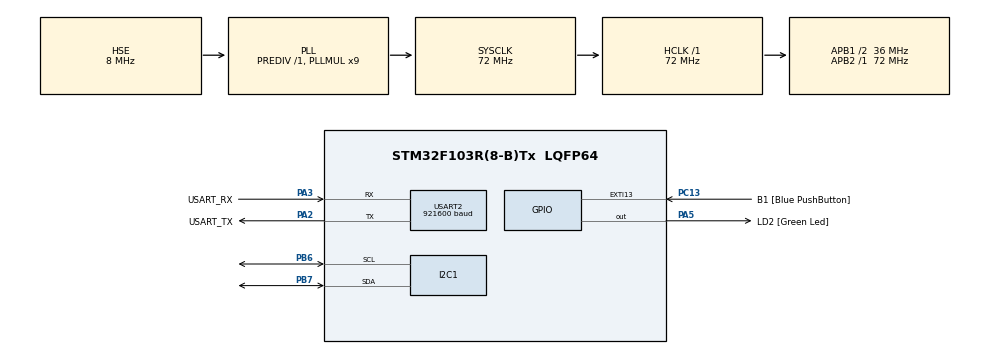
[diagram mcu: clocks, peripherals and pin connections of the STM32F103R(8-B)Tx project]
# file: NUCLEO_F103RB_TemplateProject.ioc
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Mcu.Family=STM32F1
Mcu.Name=STM32F103R(8-B)Tx
Mcu.Package=LQFP64
NVIC.EXTI15_10_IRQn=true\:0\:0\:false\:false\:true\:true\:true\:true
NVIC.PriorityGroup=NVIC_PRIORITYGROUP_4
PA13.GPIO_Label=TMS
PA13.Mode=Serial_Wire
PA13.Signal=SYS_JTMS-SWDIO
PA14.GPIO_Label=TCK
PA14.Mode=Serial_Wire
PA14.Signal=SYS_JTCK-SWCLK
PA2.GPIO_Label=USART_TX
PA2.GPIO_Mode=GPIO_MODE_AF_PP
PA2.GPIO_PuPd=GPIO_NOPULL
PA2.GPIO_Speed=GPIO_SPEED_FREQ_LOW
PA2.Mode=Asynchronous
PA2.Signal=USART2_TX
PA3.GPIO_Label=USART_RX
PA3.GPIO_Mode=GPIO_MODE_AF_PP
PA3.GPIO_PuPd=GPIO_NOPULL
PA3.GPIO_Speed=GPIO_SPEED_FREQ_LOW
PA3.Mode=Asynchronous
PA3.Signal=USART2_RX
PA5.GPIO_Label=LD2 [Green Led]
PA5.GPIO_ModeDefaultOutputPP=GPIO_MODE_OUTPUT_PP
PA5.GPIO_PuPd=GPIO_NOPULL
PA5.GPIO_Speed=GPIO_SPEED_FREQ_LOW
PA5.Signal=GPIO_Output
PB3.GPIO_Label=SWO
PB3.Signal=SYS_JTDO-TRACESWO
PB6.Mode=I2C
PB6.Signal=I2C1_SCL
PB7.Mode=I2C
PB7.Signal=I2C1_SDA
PC13-TAMPER-RTC.GPIO_Label=B1 [Blue PushButton]
PC13-TAMPER-RTC.GPIO_PuPd=GPIO_NOPULL
PC13-TAMPER-RTC.Signal=GPXTI13
PC14-OSC32_IN.Mode=LSE-External-Oscillator
PC14-OSC32_IN.Signal=RCC_OSC32_IN
PC15-OSC32_OUT.Mode=LSE-External-Oscillator
PC15-OSC32_OUT.Signal=RCC_OSC32_OUT
PD0-OSC_IN.Mode=HSE-External-Clock-Source
PD0-OSC_IN.Signal=RCC_OSC_IN
PD1-OSC_OUT.Mode=HSE-External-Clock-Source
PD1-OSC_OUT.Signal=RCC_OSC_OUT
ProjectManager.HeapSize=0x200
ProjectManager.StackSize=0x400
ProjectManager.TargetToolchain=Makefile
RCC.AHBFreq_Value=72000000
RCC.APB1CLKDivider=RCC_HCLK_DIV2
RCC.APB1Freq_Value=36000000
RCC.APB1TimFreq_Value=72000000
RCC.APB2Freq_Value=72000000
RCC.APB2TimFreq_Value=72000000
RCC.HCLKFreq_Value=72000000
RCC.PLLMUL=RCC_PLL_MUL9
RCC.PLLSourceVirtual=RCC_PLLSOURCE_HSE
RCC.RTCClockSelection=RCC_RTCCLKSOURCE_LSE
RCC.SYSCLKFreq_VALUE=72000000
RCC.SYSCLKSource=RCC_SYSCLKSOURCE_PLLCLK
RCC.USBFreq_Value=72000000
USART2.BaudRate=921600
USART2.VirtualMode=VM_ASYNC
board=NUCLEO-F103RB

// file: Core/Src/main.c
/* USER CODE BEGIN Header */
/**
  ******************************************************************************
  * @file           : main.c
  * @brief          : Main program body
  ******************************************************************************
  * @attention

  ******************************************************************************
  */
/* USER CODE END Header */
#include "main.h"
#include "i2c.h"
#include "MPU6050.h"
#include "usart.h"
#include "gpio.h"

/* USER CODE BEGIN Includes */
#include "stdio.h"
#include "string.h"
//#include "lcd.h"
int __io_putchar(int ch);
/* USER CODE END Includes */

/* USER CODE BEGIN PD */
#define MPU6050_SAMPLE_INTERVAL_MS 200U
#define UART_COMMAND_BUFFER_SIZE  32U

/* USER CODE END PD */

/* USER CODE BEGIN PV */
static uint8_t uartRxByte;
static char uartCommandBuffer[UART_COMMAND_BUFFER_SIZE];
static uint8_t uartCommandLength;
static volatile uint8_t uartCommandReady;
static volatile uint8_t uartCommandOverflow;

/* USER CODE END PV */

void SystemClock_Config(void);
/* USER CODE BEGIN PFP */
static void ProcessUartCommand(MPU6050_HandleTypeDef *mpu,
                               uint8_t mpu_address,
                               uint8_t mpu_ready,
                               MPU6050_AccelRange *accel_range,
                               MPU6050_GyroRange *gyro_range);

/* USER CODE END PFP */

int main(void)
{

  /* MCU Configuration--------------------------------------------------------*/

  /* Reset of all peripherals, Initializes the Flash interface and the Systick. */
  HAL_Init();

  /* Configure the system clock */
  SystemClock_Config();

  /* Initialize all configured peripherals */
  MX_GPIO_Init();
  MX_USART2_UART_Init();
  MX_I2C1_Init();
  /* USER CODE BEGIN 2 */
  MPU6050_HandleTypeDef mpu = {0};
  MPU6050_Data sensorData;
  MPU6050_AccelRange accelRange = MPU6050_ACCEL_RANGE_2G;
  MPU6050_GyroRange gyroRange = MPU6050_GYRO_RANGE_250_DPS;
  uint8_t mpuAddress = 0;
  uint8_t mpuReady = 0;
  const uint8_t candidateAddresses[] = {0x68U, 0x69U};
  uint32_t nextSampleTick = HAL_GetTick();
  printf("MPU6050 test start; I2C1 PB6=SCL, PB7=SDA\n");
  if (HAL_UART_Receive_IT(&huart2, &uartRxByte, 1U) != HAL_OK)
  {
    printf("UART RX start error\n");
  }
  /* USER CODE END 2 */

  /* Infinite loop */
  while (1)
  {

    /* USER CODE BEGIN 3 */
    if (uartCommandReady)
    {
      ProcessUartCommand(&mpu, mpuAddress, mpuReady, &accelRange, &gyroRange);
    }

    if ((int32_t)(HAL_GetTick() - nextSampleTick) >= 0)
    {
      if (!mpuReady)
      {
        for (uint32_t i = 0; i < sizeof(candidateAddresses) / sizeof(candidateAddresses[0]); i++)
        {
          if (MPU6050_Init(&mpu, &hi2c1, candidateAddresses[i],
                           accelRange,
                           gyroRange,
                           100U) == HAL_OK)
          {
            mpuAddress = candidateAddresses[i];
            mpuReady = 1;
            printf("MPU6050 OK: address=0x%02X WHO_AM_I=0x68\n", mpuAddress);
            printf("RANGE_OK,%u,%u\n", 2U, 250U);
            break;
          }
        }

        if (!mpuReady)
        {
          printf("MPU6050 not found (expected address 0x68/0x69, WHO_AM_I 0x68)\n");
        }
      }
      else if (MPU6050_Read(&mpu, &sensorData, 100U) == HAL_OK)
      {
        printf("ACC=%d,%d,%d TEMP=%d GYRO=%d,%d,%d\n",
               sensorData.accel_x_raw, sensorData.accel_y_raw, sensorData.accel_z_raw,
               sensorData.temperature_raw, sensorData.gyro_x_raw,
               sensorData.gyro_y_raw, sensorData.gyro_z_raw);
        HAL_GPIO_TogglePin(LD2_GPIO_Port, LD2_Pin);
      }
      else
      {
        printf("MPU6050 read error: 0x%08lX\n", HAL_I2C_GetError(&hi2c1));
        mpuReady = 0;
      }

      nextSampleTick = HAL_GetTick() + MPU6050_SAMPLE_INTERVAL_MS;
    }
    else
    {
      __WFI();
    }
  }
  /* USER CODE END 3 */
}

static uint8_t TryGetRanges(int accel_g, int gyro_dps,
                            MPU6050_AccelRange *accel_range,
                            MPU6050_GyroRange *gyro_range)
{
  switch (accel_g)
  {
    case 2:  *accel_range = MPU6050_ACCEL_RANGE_2G; break;
    case 4:  *accel_range = MPU6050_ACCEL_RANGE_4G; break;
    case 8:  *accel_range = MPU6050_ACCEL_RANGE_8G; break;
    case 16: *accel_range = MPU6050_ACCEL_RANGE_16G; break;
    default: return 0U;
  }

  switch (gyro_dps)
  {
    case 250:  *gyro_range = MPU6050_GYRO_RANGE_250_DPS; break;
    case 500:  *gyro_range = MPU6050_GYRO_RANGE_500_DPS; break;
    case 1000: *gyro_range = MPU6050_GYRO_RANGE_1000_DPS; break;
    case 2000: *gyro_range = MPU6050_GYRO_RANGE_2000_DPS; break;
    default: return 0U;
  }

  return 1U;
}

static void ProcessUartCommand(MPU6050_HandleTypeDef *mpu,
                               uint8_t mpu_address,
                               uint8_t mpu_ready,
                               MPU6050_AccelRange *accel_range,
                               MPU6050_GyroRange *gyro_range)
{
  if (uartCommandOverflow)
  {
    printf("RANGE_ERR,COMMAND_TOO_LONG\n");
  }
  else if (strcmp(uartCommandBuffer, "RANGE?") == 0)
  {
    if (mpu_ready)
    {
      const int accel_g = *accel_range == MPU6050_ACCEL_RANGE_2G ? 2 :
                          *accel_range == MPU6050_ACCEL_RANGE_4G ? 4 :
                          *accel_range == MPU6050_ACCEL_RANGE_8G ? 8 : 16;
      const int gyro_dps = *gyro_range == MPU6050_GYRO_RANGE_250_DPS ? 250 :
                           *gyro_range == MPU6050_GYRO_RANGE_500_DPS ? 500 :
                           *gyro_range == MPU6050_GYRO_RANGE_1000_DPS ? 1000 : 2000;
      printf("RANGE_OK,%d,%d\n", accel_g, gyro_dps);
    }
    else
    {
      printf("RANGE_ERR,NOT_READY\n");
    }
  }
  else
  {
    int accel_g = 0;
    int gyro_dps = 0;
    char trailing_character = '\0';
    MPU6050_AccelRange new_accel_range;
    MPU6050_GyroRange new_gyro_range;
    const int parsed_fields = sscanf(uartCommandBuffer, "RANGE,%d,%d%c",
                                     &accel_g, &gyro_dps, &trailing_character);

    if (parsed_fields != 2 ||
        !TryGetRanges(accel_g, gyro_dps, &new_accel_range, &new_gyro_range))
    {
      printf("RANGE_ERR,BAD_COMMAND\n");
    }
    else if (!mpu_ready)
    {
      printf("RANGE_ERR,NOT_READY\n");
    }
    else if (MPU6050_Init(mpu, &hi2c1, mpu_address, new_accel_range,
                          new_gyro_range, 100U) == HAL_OK)
    {
      *accel_range = new_accel_range;
      *gyro_range = new_gyro_range;
      printf("RANGE_OK,%d,%d\n", accel_g, gyro_dps);
    }
    else
    {
      printf("RANGE_ERR,CONFIG\n");
    }
  }

  __disable_irq();
  uartCommandReady = 0U;
  uartCommandOverflow = 0U;
  uartCommandLength = 0U;
  __enable_irq();
  (void)HAL_UART_Receive_IT(&huart2, &uartRxByte, 1U);
}

void SystemClock_Config(void)
{
  RCC_OscInitTypeDef RCC_OscInitStruct = {0};
  RCC_ClkInitTypeDef RCC_ClkInitStruct = {0};

  /** Initializes the RCC Oscillators according to the specified parameters
  * in the RCC_OscInitTypeDef structure.
  */
  RCC_OscInitStruct.OscillatorType = RCC_OSCILLATORTYPE_HSE;
  RCC_OscInitStruct.HSEState = RCC_HSE_BYPASS;
  RCC_OscInitStruct.HSEPredivValue = RCC_HSE_PREDIV_DIV1;
  RCC_OscInitStruct.HSIState = RCC_HSI_ON;
  RCC_OscInitStruct.PLL.PLLState = RCC_PLL_ON;
  RCC_OscInitStruct.PLL.PLLSource = RCC_PLLSOURCE_HSE;
  RCC_OscInitStruct.PLL.PLLMUL = RCC_PLL_MUL9;
  if (HAL_RCC_OscConfig(&RCC_OscInitStruct) != HAL_OK)
  {
    Error_Handler();
  }

  /** Initializes the CPU, AHB and APB buses clocks
  */
  RCC_ClkInitStruct.ClockType = RCC_CLOCKTYPE_HCLK|RCC_CLOCKTYPE_SYSCLK
                              |RCC_CLOCKTYPE_PCLK1|RCC_CLOCKTYPE_PCLK2;
  RCC_ClkInitStruct.SYSCLKSource = RCC_SYSCLKSOURCE_PLLCLK;
  RCC_ClkInitStruct.AHBCLKDivider = RCC_SYSCLK_DIV1;
  RCC_ClkInitStruct.APB1CLKDivider = RCC_HCLK_DIV2;
  RCC_ClkInitStruct.APB2CLKDivider = RCC_HCLK_DIV1;

  if (HAL_RCC_ClockConfig(&RCC_ClkInitStruct, FLASH_LATENCY_2) != HAL_OK)
  {
    Error_Handler();
  }
}

/* USER CODE BEGIN 4 */
int __io_putchar(int ch)
{
  if (ch == '\n')
  {
    uint8_t carriageReturn = '\r';
    HAL_UART_Transmit(&huart2, &carriageReturn, 1, HAL_MAX_DELAY);
  }

  HAL_UART_Transmit(&huart2, (uint8_t *)&ch, 1, HAL_MAX_DELAY);
  return ch;
}

void HAL_UART_RxCpltCallback(UART_HandleTypeDef *huart)
{
  if (huart->Instance != USART2)
  {
    return;
  }

  if (uartRxByte == '\n')
  {
    uartCommandBuffer[uartCommandLength] = '\0';
    uartCommandReady = 1U;
  }
  else if (uartRxByte != '\r' && !uartCommandOverflow)
  {
    if (uartCommandLength < sizeof(uartCommandBuffer) - 1U)
    {
      uartCommandBuffer[uartCommandLength++] = (char)uartRxByte;
    }
    else
    {
      uartCommandOverflow = 1U;
    }
  }

  if (!uartCommandReady)
  {
    (void)HAL_UART_Receive_IT(&huart2, &uartRxByte, 1U);
  }
}
/* USER CODE END 4 */

void Error_Handler(void)
{
  __disable_irq();
  while (1)
  {
  }
}
